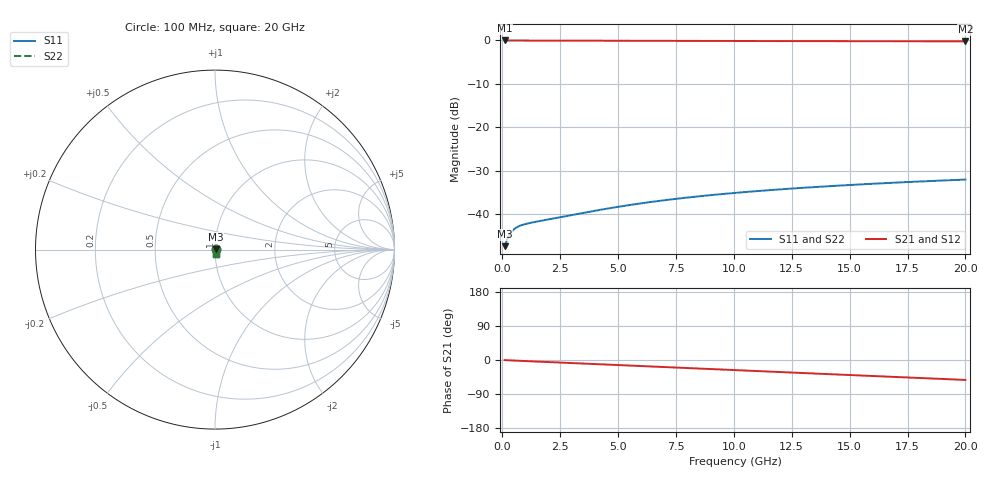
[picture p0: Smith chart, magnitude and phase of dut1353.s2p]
! Touchstone file exported from HFSS 2026.1.0
!  File:  C:/ffzhzh/LocalFiles/Ansys_Project_Files/temp_train_TMRDL_1353_1783165562_43440.aedt
!  Generated:  07:47:17 PM Jul  4, 2026
!  Design:  TMRDL
!  Project:  temp_train_TMRDL_1353_1783165562_43440
! Variables:
!  h_bsmrdl = 2um
!  h_ox = 20um
!  h_rdl = 5um
!  h_sub = 80um
!  h_tmrdl = 3.41um
!  h_tsv = 80um
!  h_via = 3um
!  l_bsmrdl = 300um
!  l_sub = 1339.9um
!  l_tmrdl = 939.9um
!  m_sub = 200um
!  pitch = 29.73um
!  r_tsv = 6um
!  s_tmrdl = 10um
!  w_bsmrdl = 18um
!  w_sub = 500um
!  w_tmrdl = 25.54um
!  x_tsv_center1 = 952.67um
!  x_tsv_center2 = 1270.67um
!  x_tsv_center3 = 2236.11um
!  x_tsv_center4 = 2554.11um
!  x_tsv_center5 = 3519.55um
!  x_tsv_center6 = 3837.55um
# GHz S MA R 50.000000
! Terminal data exported
! Port[1] = TM_RDL1_1_T1
! Port[2] = TM_RDL1_1_T2
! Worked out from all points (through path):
!   200 points, 100 MHz to 20 GHz, reference 50 ohm
!   highest |S21| = -0.04 dB at 100 MHz (marker M1); lowest = -0.2 dB at 20 GHz (marker M2)
!   group delay of S21, straight-line fit = 7.28 ps
!   lowest |S11| = -47.3 dB at 100 MHz (marker M3), VSWR 1.01, Z = 50.4 + j0.098 ohm
!   |S11| at or under -10 dB: start of sweep to end of sweep
!   |S22| runs from -47.3 to -32.1 dB; largest |S21 - S12| = 2.1e-15
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0.1  0.004303 13.1  0.9958 -0.3  0.9958 -0.3  0.004303 13.1
! Gamma 0 0 0 0
! Port Impedance 50 0 50 0
0.2  0.005026 19.4  0.9953 -0.6  0.9953 -0.6  0.005025 19.5
0.3  0.005739 20.9  0.9947 -0.9  0.9947 -0.9  0.005741 21.0
0.4  0.006302 20.3  0.9941 -1.2  0.9941 -1.2  0.00631 20.4
0.5  0.006719 19.2  0.9937 -1.5  0.9937 -1.5  0.006734 19.3
0.6  0.007028 18.1  0.9934 -1.7  0.9934 -1.7  0.007048 18.2
0.7  0.007264 17.1  0.9931 -2.0  0.9931 -2.0  0.007287 17.2
0.9  0.007603 15.6  0.9928 -2.5  0.9928 -2.5  0.007631 15.7
1.3  0.008063 14.1  0.9923 -3.6  0.9923 -3.6  0.008091 14.1
3.5  0.01039 10.6  0.9902 -9.5  0.9902 -9.5  0.01038 10.5
4.4  0.01147 7.7  0.9891 -11.9  0.9891 -11.9  0.01145 7.6
5.2  0.01243 4.4  0.9881 -14.0  0.9881 -14.0  0.0124 4.4
6  0.01338 0.6  0.987 -16.2  0.987 -16.2  0.01334 0.6
6.8  0.01429 -3.4  0.986 -18.3  0.986 -18.3  0.01424 -3.5
8.4  0.01601 -12.1  0.9839 -22.5  0.9839 -22.5  0.01594 -12.1
10.1  0.01767 -21.4  0.9818 -26.9  0.9818 -26.9  0.01756 -21.5
11.7  0.0191 -30.1  0.98 -31.1  0.98 -31.1  0.01895 -30.3
13.4  0.0205 -39.1  0.9782 -35.5  0.9782 -35.5  0.02031 -39.4
15  0.02172 -47.3  0.9767 -39.6  0.9767 -39.6  0.0215 -47.6
16.7  0.02294 -55.6  0.9751 -44.1  0.9751 -44.1  0.02267 -56.0
18.4  0.02408 -63.6  0.9737 -48.4  0.9737 -48.4  0.02377 -64.1
20  0.02507 -70.9  0.9724 -52.6  0.9724 -52.6  0.02472 -71.5
